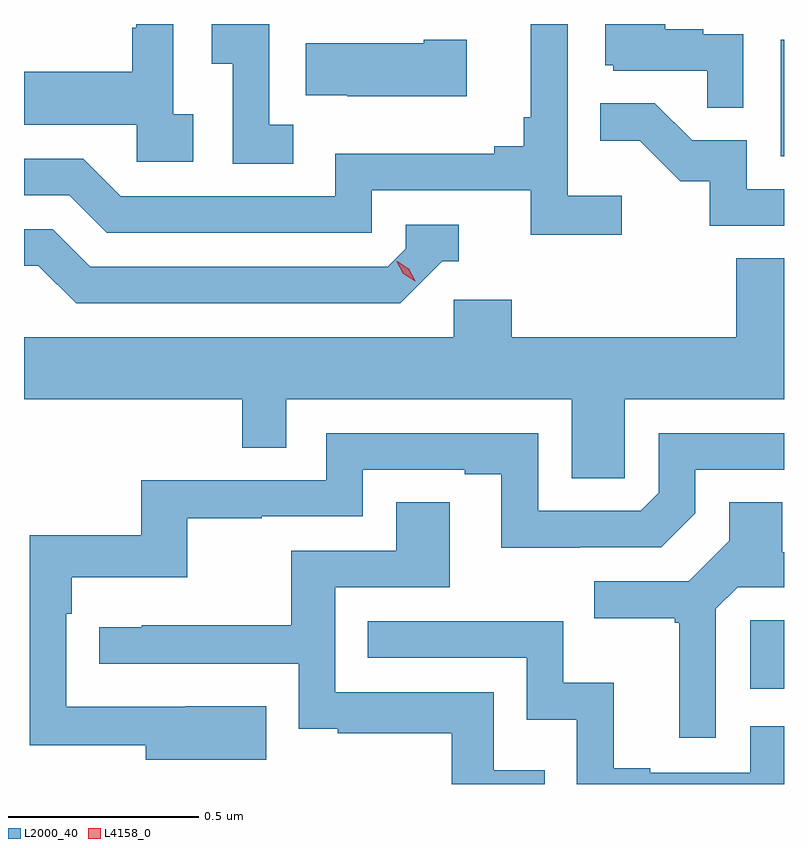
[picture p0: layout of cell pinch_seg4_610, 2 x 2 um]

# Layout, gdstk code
import gdstk
lib = gdstk.Library(unit=1e-6, precision=1e-09)
def R(c, l, rs):  # rectangles x0, y0, x1, y1
    for r in rs: c.add(gdstk.rectangle(r[:2], r[2:], *l))
def P(c, l, *ps):  # polygons
    for p in ps: c.add(gdstk.Polygon(p, *l))
L2000_40 = (2000, 40)
L4158_0 = (4158, 0)

pinch_seg4_610 = lib.new_cell('pinch_seg4_610')
R(pinch_seg4_610, L2000_40, [(1047.954,782.739,1048.043,782.919), (1048.034,784.14,1048.043,784.447)])
P(pinch_seg4_610, L2000_40, [(1047.936,784.461),(1047.83,784.461),(1047.83,784.474),(1047.73,784.474),(1047.73,784.488),(1047.572,784.488),(1047.572,784.38),(1047.594,784.38),(1047.594,784.365),(1047.841,784.365),(1047.841,784.267),(1047.936,784.267)],
  [(1046.488,784.25),(1046.436,784.25),(1046.436,784.488),(1046.338,784.488),(1046.338,784.478),(1046.328,784.478),(1046.328,784.363),(1046.043,784.363),(1046.043,784.223),(1046.34,784.223),(1046.34,784.125),(1046.488,784.125)],
  [(1046.752,784.223),(1046.688,784.223),(1046.688,784.488),(1046.537,784.488),(1046.537,784.384),(1046.592,784.384),(1046.592,784.12),(1046.752,784.12)],
  [(1047.616,784.036),(1047.474,784.036),(1047.474,784.488),(1047.377,784.488),(1047.377,784.243),(1047.358,784.243),(1047.358,784.166),(1047.281,784.166),(1047.281,784.147),(1046.862,784.147),(1046.862,784.035),(1046.298,784.035),(1046.199,784.134),(1046.043,784.134),(1046.043,784.038),(1046.162,784.038),(1046.261,783.939),(1046.958,783.939),(1046.958,784.05),(1047.377,784.05),(1047.377,783.934),(1047.616,783.934)],
  [(1047.208,784.446),(1047.095,784.446),(1047.095,784.438),(1046.785,784.438),(1046.785,784.301),(1046.893,784.301),(1046.893,784.298),(1047.208,784.298)],
  [(1048.043,784.053),(1047.945,784.053),(1047.945,784.182),(1047.801,784.182),(1047.703,784.28),(1047.559,784.28),(1047.559,784.181),(1047.663,784.181),(1047.77,784.074),(1047.847,784.074),(1047.847,783.957),(1048.043,783.957)],
  [(1047.144,783.864),(1047.187,783.864),(1047.187,783.96),(1047.048,783.96),(1047.048,783.897),(1047,783.849),(1046.217,783.849),(1046.118,783.948),(1046.043,783.948),(1046.043,783.852),(1046.081,783.852),(1046.18,783.753),(1047.033,783.753)],
  [(1047.624,783.5),(1048.043,783.5),(1048.043,783.872),(1047.917,783.872),(1047.917,783.664),(1047.326,783.664),(1047.326,783.762),(1047.174,783.762),(1047.174,783.664),(1046.043,783.664),(1046.043,783.5),(1046.617,783.5),(1046.617,783.373),(1046.733,783.373),(1046.733,783.5),(1047.485,783.5),(1047.485,783.292),(1047.624,783.292)],
  [(1046.681,782.692),(1046.467,782.692),(1046.467,782.691),(1046.154,782.691),(1046.154,782.936),(1046.168,782.936),(1046.168,783.032),(1046.473,783.032),(1046.473,783.187),(1046.669,783.187),(1046.669,783.192),(1046.934,783.192),(1046.934,783.315),(1047.203,783.315),(1047.203,783.303),(1047.299,783.303),(1047.299,783.11),(1047.504,783.11),(1047.504,783.111),(1047.72,783.111),(1047.81,783.201),(1047.81,783.315),(1048.043,783.315),(1048.043,783.411),(1047.714,783.411),(1047.714,783.255),(1047.666,783.207),(1047.396,783.207),(1047.396,783.411),(1046.838,783.411),(1046.838,783.288),(1046.352,783.288),(1046.352,783.142),(1046.058,783.142),(1046.058,782.59),(1046.363,782.59),(1046.363,782.552),(1046.681,782.552)],
  [(1047.413,782.524),(1047.279,782.524),(1047.279,782.73),(1046.862,782.73),(1046.862,783.006),(1047.163,783.006),(1047.163,783.23),(1047.023,783.23),(1047.023,783.102),(1046.746,783.102),(1046.746,782.906),(1046.353,782.906),(1046.353,782.901),(1046.241,782.901),(1046.241,782.805),(1046.766,782.805),(1046.766,782.633),(1046.869,782.633),(1046.869,782.622),(1047.168,782.622),(1047.168,782.488),(1047.413,782.488)],
  [(1047.864,782.949),(1047.921,783.006),(1048.043,783.006),(1048.043,783.098),(1048.039,783.098),(1048.039,783.23),(1047.899,783.23),(1047.899,783.128),(1047.792,783.021),(1047.543,783.021),(1047.543,782.924),(1047.756,782.924),(1047.756,782.913),(1047.767,782.913),(1047.767,782.61),(1047.864,782.61)],
  [(1048.043,782.64),(1047.954,782.64),(1047.954,782.517),(1047.691,782.517),(1047.691,782.53),(1047.595,782.53),(1047.595,782.755),(1047.462,782.755),(1047.462,782.916),(1046.947,782.916),(1046.947,782.82),(1047.366,782.82),(1047.366,782.657),(1047.498,782.657),(1047.498,782.488),(1048.043,782.488)])
P(pinch_seg4_610, L4158_0, [(1047.072,783.811),(1047.041,783.831),(1047.024,783.863),(1047.024,783.864),(1047.025,783.864),(1047.056,783.844),(1047.072,783.812),(1047.072,783.811)])

lib.write_gds('pinch_seg4_610.gds')
